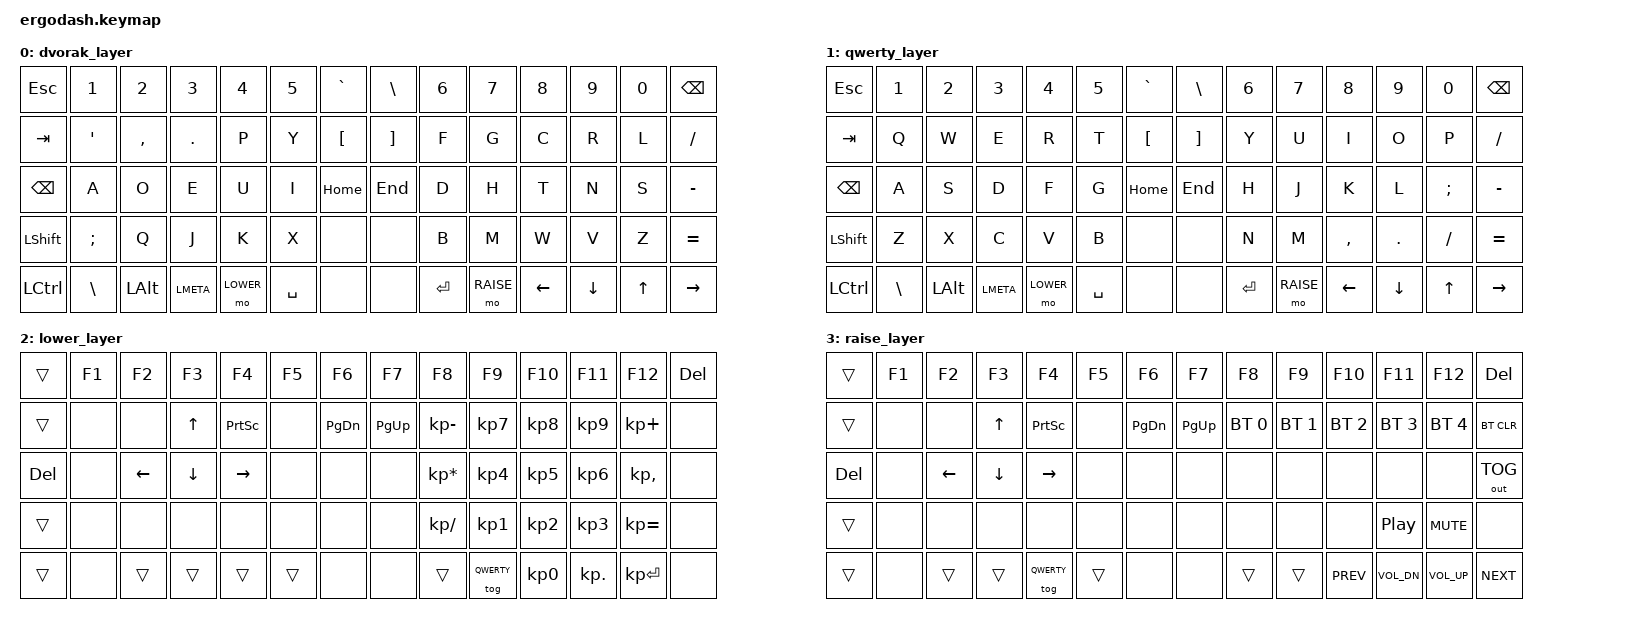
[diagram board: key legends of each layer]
/*
 * Copyright (c) 2020 The ZMK Contributors
 *
 * SPDX-License-Identifier: MIT
 */

#include <behaviors.dtsi>
#include <dt-bindings/zmk/keys.h>
#include <dt-bindings/zmk/bt.h>
#include <dt-bindings/zmk/outputs.h>

#define DVORAK 0
#define QWERTY 1
#define LOWER 2
#define RAISE 3



/ {
        keymap {
                compatible = "zmk,keymap";

                dvorak_layer {
  /* Dvorak
   * ,------------------------------------------------.                    .------------------------------------------------.
   * | ESC  |   1  |   2  |   3  |   4  |   5  |   `  |                    |   \  |   6  |   7  |   8  |   9  |   0  | Bksp |
   * |------+------+------+------+------+------+------|                    |------+------+------+------+------+------+------|
   * | Tab  |   '  |   ,  |   .  |   P  |   Y  |   [  |                    |   ]  |   F  |   G  |   C  |   R  |   L  |  /   |
   * |------+------+------+------+------+------+------|                    |------+------+------+------+------+------+------|
   * | Bksp |   A  |   O  |   E  |   U  |   I  | Home |                    | End  |   D  |   H  |   T  |   N  |   S  |  -   |
   * |------+------+------+------+------+------+------|                    |------+------+------+------+------+------+------|
   * | Shift|   ;  |   Q  |   J  |   K  |   X  |      |                    |      |   B  |   M  |   W  |   V  |   Z  |  =   |
   * |-------------+------+------+------+------+ Space|                    |-Enter+------+------+------+------+-------------|
   * | Ctrl |  \   |  Alt | Win  |||||||| Lower|      |                    |      | Raise|||||||| Left | Down |  Up  | Right|
   * ,------------------------------------------------.                    .------------------------------------------------.

   */
                        bindings = <
&kp  ESC      &kp  N1       &kp  N2       &kp  N3       &kp  N4       &kp  N5       &kp  GRAVE             &kp  BSLH     &kp  N6       &kp  N7       &kp  N8       &kp  N9       &kp  N0       &kp  BSPC
&kp  TAB      &kp  APOS     &kp  COMMA    &kp  DOT      &kp  P        &kp  Y        &kp  LBKT              &kp  RBKT     &kp  F        &kp  G        &kp  C        &kp  R        &kp  L        &kp  SLASH
&kp  BSPC     &kp  A        &kp  O        &kp  E        &kp  U        &kp  I        &kp  HOME              &kp  END      &kp  D        &kp  H        &kp  T        &kp  N        &kp  S        &kp  MINUS
&kp  LSHFT    &kp  SEMI     &kp  Q        &kp  J        &kp  K        &kp  X        &none                  &none         &kp  B        &kp  M        &kp  W        &kp  V        &kp  Z        &kp  EQUAL
&kp  LCTRL    &kp  BSLH     &kp  LALT     &kp  LMETA    &mo  LOWER    &kp  SPACE    &none                  &none         &kp RET       &mo  RAISE    &kp  LEFT     &kp  DOWN     &kp  UP       &kp  RIGHT
                        >;
                };
                qwerty_layer {
  /* Qwerty
   * ,------------------------------------------------.                    .------------------------------------------------.
   * | ESC  |   1  |   2  |   3  |   4  |   5  |   `  |                    |   \  |   6  |   7  |   8  |   9  |   0  | Bksp |
   * |------+------+------+------+------+------+------|                    |------+------+------+------+------+------+------|
   * | Tab  |   Q  |   W  |   E  |   R  |   T  |   [  |                    |   ]  |   Y  |   U  |   I  |   O  |   P  |  /   |
   * |------+------+------+------+------+------+------|                    |------+------+------+------+------+------+------|
   * | Bksp |   A  |   S  |   D  |   F  |   G  | Home |                    | End  |   H  |   J  |   K  |   L  |   ;  |  -   |
   * |------+------+------+------+------+------+------|                    |------+------+------+------+------+------+------|
   * | Shift|   Z  |   X  |   C  |   V  |   B  |      |                    |      |   N  |   M  |   ,  |   .  |   /  |  =   |
   * |-------------+------+------+------+------+ Space|                    |-Enter+------+------+------+------+-------------|
   * | Ctrl |  \   |  Alt | Win  |||||||| Lower|      |                    |      | Raise|||||||| Left | Down |  Up  | Right|
   * ,------------------------------------------------.                    .------------------------------------------------.
   */
                        bindings = <
&kp  ESC      &kp  N1       &kp  N2       &kp  N3       &kp  N4       &kp  N5       &kp  GRAVE             &kp  BSLH     &kp  N6       &kp  N7       &kp  N8       &kp  N9       &kp  N0       &kp  BSPC
&kp  TAB      &kp  Q        &kp  W        &kp  E        &kp  R        &kp  T        &kp  LBKT              &kp  RBKT     &kp  Y        &kp  U        &kp  I        &kp  O        &kp  P        &kp  SLASH
&kp  BSPC     &kp  A        &kp  S        &kp  D        &kp  F        &kp  G        &kp  HOME              &kp  END      &kp  H        &kp  J        &kp  K        &kp  L        &kp  SEMI     &kp  MINUS
&kp  LSHFT    &kp  Z        &kp  X        &kp  C        &kp  V        &kp  B        &none                  &none         &kp  N        &kp  M        &kp  COMMA    &kp  DOT      &kp  SLASH    &kp  EQUAL
&kp  LCTRL    &kp  BSLH     &kp  LALT     &kp  LMETA    &mo  LOWER    &kp  SPACE    &none                  &none         &kp RET       &mo  RAISE    &kp  LEFT     &kp  DOWN     &kp  UP       &kp  RIGHT
                        >;
                };
                lower_layer {
  /* Lower
   * ,------------------------------------------------.                    .------------------------------------------------.
   * |  TRN |  F1  |  F2  |  F3  |  F4  |  F5  |  F6  |                    |  F7  |  F8  |  F9  |  F10 |  F11 |  F12 |  Del |
   * |------+------+------+------+------+------+------|                    |------+------+------+------+------+------+------|
   * |  TRN |      |      |  Up  | PScr |      | PgDn |                    | PgUp |  KP- |  KP7 |  KP8 |  KP9 |  KP+ |      |
   * |------+------+------+------+------+------+------|                    |------+------+------+------+------+------+------|
   * | Del  |      | Left | Down | Right|      |      |                    |NumLck|  KP* |  KP4 |  KP5 |  KP6 |  KP, |      |
   * |------+------+------+------+------+------+------|                    |------+------+------+------+------+------+------|
   * | TRN  |      |      |      |      |      |      |                    |      |  KP/ |  KP1 |  KP2 |  KP3 |  KP= |      |
   * |-------------+------+------+------+------| TRN  |                    | TRN  |------+------+------+------+-------------|
   * | TRN  |      |  TRN | TRN  |||||||| Lower|      |                    |      |Qwerty||||||||  KP0 |  KP. |KP_ENT|      |
   * ,------------------------------------------------.                    .------------------------------------------------.
   */

                        bindings = <
&trans        &kp  F1       &kp  F2       &kp  F3       &kp  F4       &kp  F5       &kp F6                 &kp  F7       &kp  F8           &kp  F9        &kp  F10       &kp  F11       &kp  F12       &kp  DEL
&trans        &none         &none         &kp  UP       &kp  PSCRN    &none         &kp  PG_DN             &kp  PG_UP    &kp  KP_MINUS     &kp  KP_N7     &kp  KP_N8     &kp  KP_N9     &kp  KP_PLUS   &none
&kp DEL       &none         &kp  LEFT     &kp DOWN      &kp RIGHT     &none         &none                  &none         &kp  KP_ASTERISK  &kp  KP_N4     &kp  KP_N5     &kp  KP_N6     &kp  KP_COMMA  &none
&trans        &none         &none         &none         &none         &none         &none                  &none         &kp  KP_SLASH     &kp  KP_N1     &kp  KP_N2     &kp  KP_N3     &kp  KP_EQUAL  &none
&trans        &none         &trans        &trans        &trans        &trans        &none                  &none         &trans            &tog QWERTY    &kp KP_N0      &kp  KP_DOT    &kp  KP_ENTER  &none
                        >;
                };
                raise_layer {

/* Raise
   * ,------------------------------------------------.                    .------------------------------------------------.
   * |  TRN |  F1  |  F2  |  F3  |  F4  |  F5  |  F6  |                    |  F7  |  F8  |  F9  |  F10 |  F11 |  F12 |  Del |
   * |------+------+------+------+------+------+------|                    |------+------+------+------+------+------+------|
   * |  TRN |      |      |  Up  | PScr |      | PgDn |                    | PgUp | BT_1 | BT_2 | BT_3 | BT_4 | BT_5 |BT_CLR|
   * |------+------+------+------+------+------+------|                    |------+------+------+------+------+------+------|
   * | Del  |      | Left | Down | Right|      |      |                    |      |      |      |      |      |      |BT_TOG|
   * |------+------+------+------+------+------+------|                    |------+------+------+------+------+------+------|
   * | TRN  |      |      |      |      |      |      |                    |      |      |      |      | Play | Mute |      |
   * |-------------+------+------+------+------| TRN  |                    | TRN  |------+------+------+------+-------------|
   * | TRN  |      |  TRN | TRN  ||||||||Qwerty|      |                    |      | Raise|||||||| Prev | Vol- | Vol+ | Next |
   * ,------------------------------------------------.                    .------------------------------------------------.
   */

                        bindings = <
&trans        &kp  F1       &kp  F2       &kp  F3       &kp  F4       &kp  F5       &kp F6                 &kp  F7       &kp  F8       &kp  F9       &kp  F10      &kp  F11      &kp  F12      &kp  DEL
&trans        &none         &none         &kp  UP       &kp  PSCRN    &none         &kp  PG_DN             &kp  PG_UP    &bt BT_SEL 0  &bt BT_SEL 1  &bt BT_SEL 2  &bt BT_SEL 3  &bt BT_SEL 4  &bt BT_CLR
&kp DEL       &none         &kp  LEFT     &kp DOWN      &kp RIGHT     &none         &none                  &none         &none         &none         &none         &none         &none         &out OUT_TOG
&trans        &none         &none         &none         &none         &none         &none                  &none         &none         &none         &none         &kp  C_PP     &kp  C_MUTE   &none
&trans        &none         &trans        &trans        &tog QWERTY   &trans        &none                  &none         &trans        &trans        &kp C_PREV    &kp  C_VOL_DN &kp  C_VOL_UP &kp  C_NEXT
                        >;
                };
        };
};

